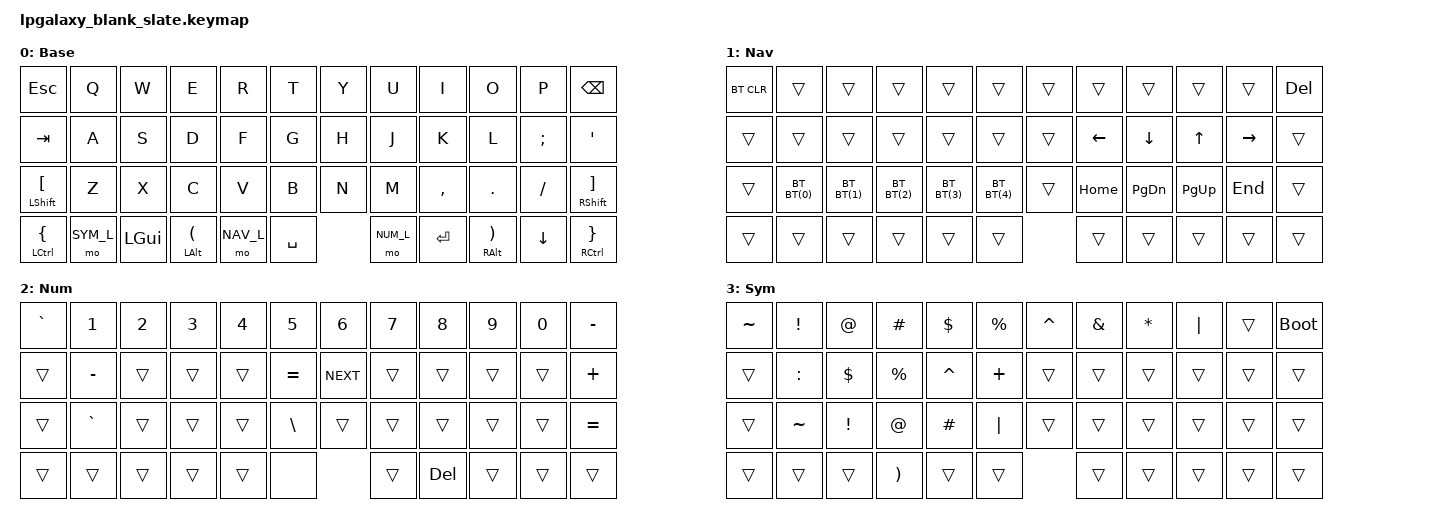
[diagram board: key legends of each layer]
/*
 * Copyright (c) 2022 Pete Johanson
 *
 * SPDX-License-Identifier: MIT
 */

#include <behaviors.dtsi>
#include <dt-bindings/zmk/keys.h>
#include <dt-bindings/zmk/bt.h>
#include <dt-bindings/zmk/outputs.h>


#define NAV_L 1
#define NUM_L 2
#define SYM_L 3

// Using layer taps on thumbs, having quick tap as well helps w/ repeating space/backspace
&lt { quick_tap_ms = <200>; };

#define BT(n) BT_SEL n

/ {
     behaviors {
        hm: homerow_mods {
            compatible = "zmk,behavior-hold-tap";
            #binding-cells = <2>;
            tapping-term-ms = <150>;
            quick-tap-ms = <0>;
            flavor = "tap-preferred";
            bindings = <&kp>, <&kp>;
        };
    };
    
    chosen {
       zmk,matrix_transform = &mit_transform;
    };

    macros {
      ZMK_MACRO(thumbs_up,
		wait-ms = <1>;
		tap-ms = <5>;
                bindings = <&kp PLUS &kp COLON &kp PLUS &kp N1 &kp COLON &kp RET>;
		)
    };
    
    tap_dances {
    	shifty: shift_caps_word {
		compatible = "zmk,behavior-tap-dance";
		label = "TD_SHIFTY";
		#binding-cells = <0>;
		tapping-term-ms = <150>;
		bindings = <&kp LSHFT>, <&caps_word>;
	};
    };

// Conditional layer only when we have less thumb keys
#ifdef TBLE_DUAL_2U
    cond_layers {
        compatible = "zmk,conditional-layers";
	tri {
	    if-layers = <NUM_L NAV_L>;
	    then-layer = <SYM_L>;
        };
    };
#endif

    keymap {
        compatible = "zmk,keymap";

        base_layer {
            label = "Base";
            bindings = <
 &kp ESC    &kp Q      &kp W      &kp E       &kp R          &kp T          &kp Y            &kp U          &kp I       &kp O      &kp P         &kp BKSP
 &kp TAB    &kp A      &kp S      &kp D       &kp F          &kp G          &kp H            &kp J          &kp K       &kp L      &kp SEMI      &kp QUOT
 &hm LSHFT LBKT  &kp Z      &kp X      &kp C       &kp V          &kp B          &kp N            &kp M          &kp COMMA   &kp DOT    &kp FSLH      &hm RSHFT RBKT
 &hm LCTRL LBRC  &mo SYM_L   &kp LGUI  &hm LALT LPAR   &mo NAV_L          &kp SPACE                   &mo NUM_L      &kp RET   &hm RALT RPAR     &kp DOWN      &hm RCTRL RBRC

            >;
        };

        nav_layer {
            label = "Nav";
            bindings = <
&bt BT_CLR &trans     &trans     &trans      &trans          &trans       &trans     &trans         &trans      &trans     &trans     &kp DEL
&trans     &trans     &trans     &trans      &trans          &trans       &trans     &kp LEFT       &kp DOWN    &kp UP     &kp RIGHT  &trans
&trans     &bt BT(0)  &bt BT(1)  &bt BT(2)   &bt BT(3)       &bt BT(4)    &trans     &kp HOME       &kp PG_DN   &kp PG_UP  &kp END    &trans
&trans  &trans        &trans     &trans      &trans                &trans             &trans      &trans   &trans &trans &trans
            >;
        };

        num_layer {
            label = "Num";
            bindings = <
&kp GRAVE     &kp N1   &kp N2 &kp N3 &kp N4    &kp N5    &kp N6    &kp N7     &kp N8      &kp N9       &kp N0     &kp MINUS
&trans     &kp MINUS  &trans &trans &trans    &kp EQUAL   &kp C_NEXT    &trans     &trans      &trans       &trans     &kp PLUS
&trans     &kp GRAVE  &trans &trans &trans    &kp BSLH    &trans        &trans     &trans      &trans       &trans     &kp EQUAL
&trans  &trans       &trans     &trans      &trans           &none            &trans        &kp DEL      &trans &trans &trans

            >;
        };

        sym_layer {
            label = "Sym";
            bindings = <
&kp TILDE     &kp EXCL   &kp AT   &kp HASH    &kp DLLR     &kp PRCNT     &kp CARET     &kp AMPS    &kp STAR       &kp PIPE       &trans     &bootloader
&trans     &kp COLON  &kp DLLR   &kp PRCNT   &kp CARET    &kp PLUS     &trans     &trans    &trans       &trans       &trans     &trans
&trans     &kp TILDE  &kp EXCL   &kp AT      &kp HASH     &kp PIPE     &trans     &trans    &trans       &trans       &trans     &trans
&trans &trans        &trans     &kp RPAR        &trans                &trans             &trans      &trans   &trans &trans &trans
            >;
        };


    };
};

